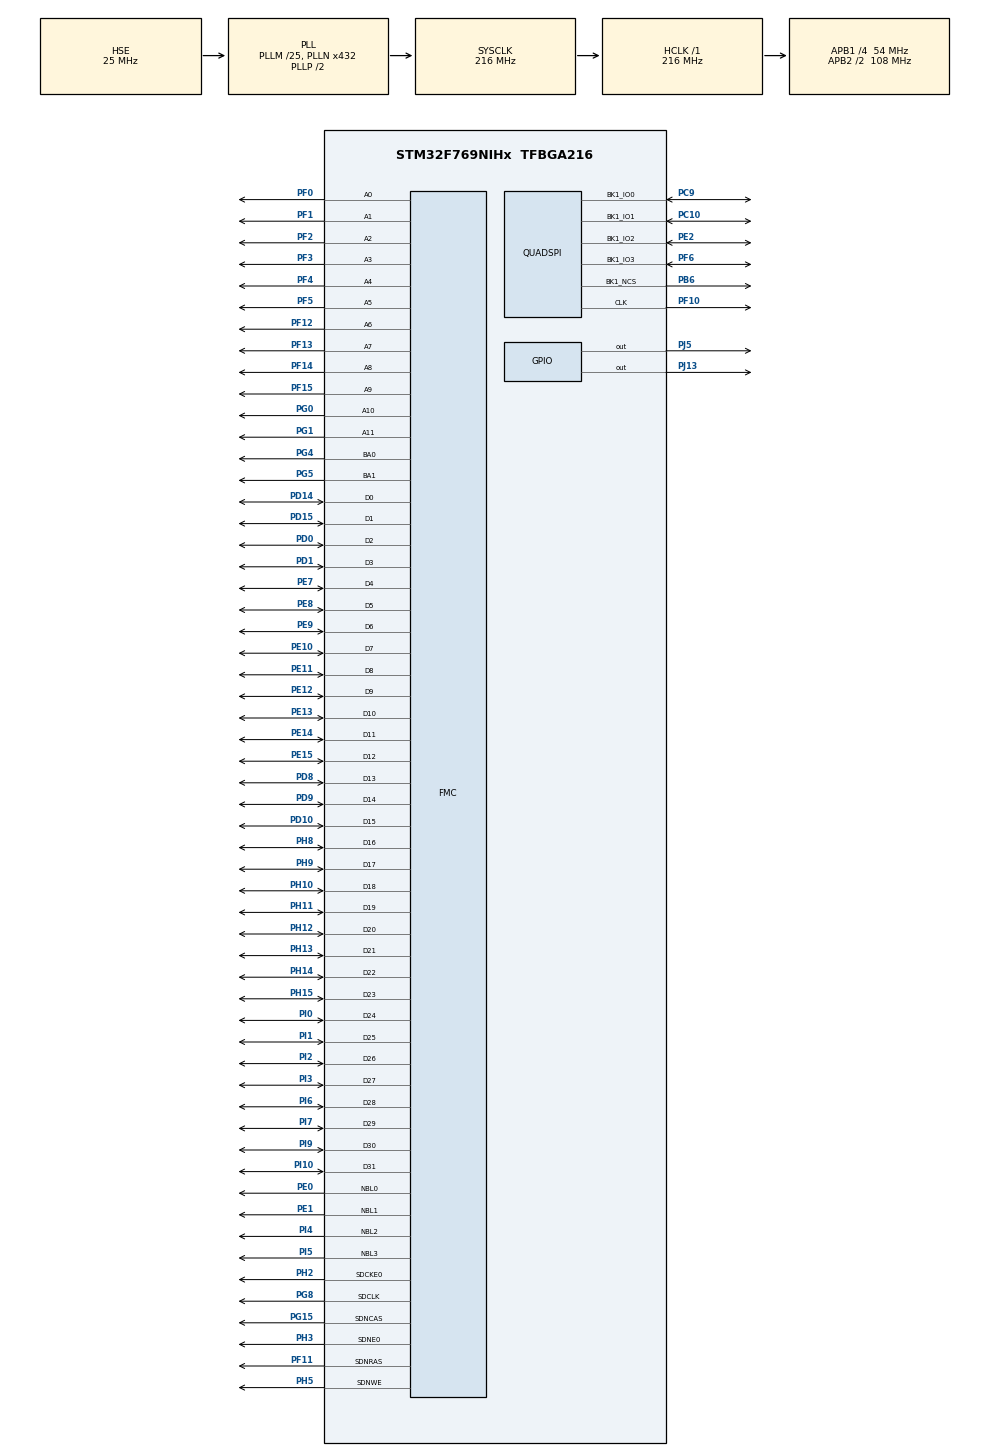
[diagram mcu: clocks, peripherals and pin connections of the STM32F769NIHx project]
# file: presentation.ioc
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CORTEX_M7.ART_ACCELERATOR_ENABLE=1
CORTEX_M7.CPU_DCache=Enabled
CORTEX_M7.CPU_ICache=Enabled
CORTEX_M7.PREFETCH_ENABLE=1
DSIHOST_CKN.Mode=DSIHost_Standalone
DSIHOST_CKN.Signal=DSIHOST_CKN
DSIHOST_CKP.Mode=DSIHost_Standalone
DSIHOST_CKP.Signal=DSIHOST_CKP
DSIHOST_D0N.Mode=DSIHost_Standalone
DSIHOST_D0N.Signal=DSIHOST_D0N
DSIHOST_D0P.Mode=DSIHost_Standalone
DSIHOST_D0P.Signal=DSIHOST_D0P
DSIHOST_D1N.Mode=DSIHost_Standalone
DSIHOST_D1N.Signal=DSIHOST_D1N
DSIHOST_D1P.Mode=DSIHost_Standalone
DSIHOST_D1P.Signal=DSIHOST_D1P
Mcu.Family=STM32F7
Mcu.Name=STM32F769NIHx
Mcu.Package=TFBGA216
NVIC.PriorityGroup=NVIC_PRIORITYGROUP_4
PB6.Mode=Single Bank 1
PB6.Signal=QUADSPI_BK1_NCS
PC10.Mode=Single Bank 1
PC10.Signal=QUADSPI_BK1_IO1
PC9.Mode=Single Bank 1
PC9.Signal=QUADSPI_BK1_IO0
PD0.Signal=FMC_D2_DA2
PD1.Signal=FMC_D3_DA3
PD10.Signal=FMC_D15_DA15
PD14.Signal=FMC_D0_DA0
PD15.Signal=FMC_D1_DA1
PD8.Signal=FMC_D13_DA13
PD9.Signal=FMC_D14_DA14
PE0.Signal=FMC_NBL0
PE1.Signal=FMC_NBL1
PE10.Signal=FMC_D7_DA7
PE11.Signal=FMC_D8_DA8
PE12.Signal=FMC_D9_DA9
PE13.Signal=FMC_D10_DA10
PE14.Signal=FMC_D11_DA11
PE15.Signal=FMC_D12_DA12
PE2.Mode=Single Bank 1
PE2.Signal=QUADSPI_BK1_IO2
PE7.Signal=FMC_D4_DA4
PE8.Signal=FMC_D5_DA5
PE9.Signal=FMC_D6_DA6
PF0.Signal=FMC_A0
PF1.Signal=FMC_A1
PF10.Mode=Single Bank 1
PF10.Signal=QUADSPI_CLK
PF11.Signal=FMC_SDNRAS
PF12.Signal=FMC_A6
PF13.Signal=FMC_A7
PF14.Signal=FMC_A8
PF15.Signal=FMC_A9
PF2.Signal=FMC_A2
PF3.Signal=FMC_A3
PF4.Signal=FMC_A4
PF5.Signal=FMC_A5
PF6.Mode=Single Bank 1
PF6.Signal=QUADSPI_BK1_IO3
PG0.Signal=FMC_A10
PG1.Signal=FMC_A11
PG15.Signal=FMC_SDNCAS
PG4.Signal=FMC_A14_BA0
PG5.Signal=FMC_A15_BA1
PG8.Signal=FMC_SDCLK
PH0/OSC_IN.Mode=HSE-External-Oscillator
PH0/OSC_IN.Signal=RCC_OSC_IN
PH1/OSC_OUT.Mode=HSE-External-Oscillator
PH1/OSC_OUT.Signal=RCC_OSC_OUT
PH10.Signal=FMC_D18
PH11.Signal=FMC_D19
PH12.Signal=FMC_D20
PH13.Signal=FMC_D21
PH14.Signal=FMC_D22
PH15.Signal=FMC_D23
PH2.Mode=SdramChipSelect1_1
PH2.Signal=FMC_SDCKE0
PH3.Mode=SdramChipSelect1_1
PH3.Signal=FMC_SDNE0
PH5.Signal=FMC_SDNWE
PH8.Signal=FMC_D16
PH9.Signal=FMC_D17
PI0.Signal=FMC_D24
PI1.Signal=FMC_D25
PI10.Signal=FMC_D31
PI2.Signal=FMC_D26
PI3.Signal=FMC_D27
PI4.Signal=FMC_NBL2
PI5.Signal=FMC_NBL3
PI6.Signal=FMC_D28
PI7.Signal=FMC_D29
PI9.Signal=FMC_D30
PJ13.Signal=GPIO_Output
PJ5.Signal=GPIO_Output
ProjectManager.HeapSize=0x200
ProjectManager.StackSize=0x400
ProjectManager.TargetToolchain=STM32CubeIDE
RCC.AHBFreq_Value=216000000
RCC.APB1CLKDivider=RCC_HCLK_DIV4
RCC.APB1Freq_Value=54000000
RCC.APB1TimFreq_Value=108000000
RCC.APB2CLKDivider=RCC_HCLK_DIV2
RCC.APB2Freq_Value=108000000
RCC.APB2TimFreq_Value=216000000
RCC.CortexFreq_Value=216000000
RCC.HCLKFreq_Value=216000000
RCC.HSE_VALUE=25000000
RCC.HSI_VALUE=16000000
RCC.PLL48CLockSelection=RCC_CLK48SOURCE_PLLSAIP
RCC.PLLM=25
RCC.PLLN=432
RCC.PLLQ=4
RCC.PLLSAIP=RCC_PLLSAIP_DIV4
RCC.PLLSAIQ=3
RCC.PLLSourceVirtual=RCC_PLLSOURCE_HSE
RCC.SDMMC2ClockSelection=RCC_SDMMC2CLKSOURCE_CLK48
RCC.SYSCLKFreq_VALUE=216000000
RCC.SYSCLKSource=RCC_SYSCLKSOURCE_PLLCLK
RCC.USBFreq_Value=48000000
RCC.VCOOutputFreq_Value=432000000
SH.FMC_A0.0=FMC_A0,12b-sda1
SH.FMC_A1.0=FMC_A1,12b-sda1
SH.FMC_A10.0=FMC_A10,12b-sda1
SH.FMC_A11.0=FMC_A11,12b-sda1
SH.FMC_A14_BA0.0=FMC_BA0,FourSdramBanks1
SH.FMC_A15_BA1.0=FMC_BA1,FourSdramBanks1
SH.FMC_A2.0=FMC_A2,12b-sda1
SH.FMC_A3.0=FMC_A3,12b-sda1
SH.FMC_A4.0=FMC_A4,12b-sda1
SH.FMC_A5.0=FMC_A5,12b-sda1
SH.FMC_A6.0=FMC_A6,12b-sda1
SH.FMC_A7.0=FMC_A7,12b-sda1
SH.FMC_A8.0=FMC_A8,12b-sda1
SH.FMC_A9.0=FMC_A9,12b-sda1
SH.FMC_D0_DA0.0=FMC_D0,sd-32b-d1
SH.FMC_D10_DA10.0=FMC_D10,sd-32b-d1
SH.FMC_D11_DA11.0=FMC_D11,sd-32b-d1
SH.FMC_D12_DA12.0=FMC_D12,sd-32b-d1
SH.FMC_D13_DA13.0=FMC_D13,sd-32b-d1
SH.FMC_D14_DA14.0=FMC_D14,sd-32b-d1
SH.FMC_D15_DA15.0=FMC_D15,sd-32b-d1
SH.FMC_D16.0=FMC_D16,sd-32b-d1
SH.FMC_D17.0=FMC_D17,sd-32b-d1
SH.FMC_D18.0=FMC_D18,sd-32b-d1
SH.FMC_D19.0=FMC_D19,sd-32b-d1
SH.FMC_D1_DA1.0=FMC_D1,sd-32b-d1
SH.FMC_D20.0=FMC_D20,sd-32b-d1
SH.FMC_D21.0=FMC_D21,sd-32b-d1
SH.FMC_D22.0=FMC_D22,sd-32b-d1
SH.FMC_D23.0=FMC_D23,sd-32b-d1
SH.FMC_D24.0=FMC_D24,sd-32b-d1
SH.FMC_D25.0=FMC_D25,sd-32b-d1
SH.FMC_D26.0=FMC_D26,sd-32b-d1
SH.FMC_D27.0=FMC_D27,sd-32b-d1
SH.FMC_D28.0=FMC_D28,sd-32b-d1
SH.FMC_D29.0=FMC_D29,sd-32b-d1
SH.FMC_D2_DA2.0=FMC_D2,sd-32b-d1
SH.FMC_D30.0=FMC_D30,sd-32b-d1
SH.FMC_D31.0=FMC_D31,sd-32b-d1
SH.FMC_D3_DA3.0=FMC_D3,sd-32b-d1
SH.FMC_D4_DA4.0=FMC_D4,sd-32b-d1
SH.FMC_D5_DA5.0=FMC_D5,sd-32b-d1
SH.FMC_D6_DA6.0=FMC_D6,sd-32b-d1
SH.FMC_D7_DA7.0=FMC_D7,sd-32b-d1
SH.FMC_D8_DA8.0=FMC_D8,sd-32b-d1
SH.FMC_D9_DA9.0=FMC_D9,sd-32b-d1
SH.FMC_NBL0.0=FMC_NBL0,Sd4ByteEnable1
SH.FMC_NBL1.0=FMC_NBL1,Sd4ByteEnable1
SH.FMC_NBL2.0=FMC_NBL2,Sd4ByteEnable1
SH.FMC_NBL3.0=FMC_NBL3,Sd4ByteEnable1
SH.FMC_SDCLK.0=FMC_SDCLK,12b-sda1
SH.FMC_SDNCAS.0=FMC_SDNCAS,12b-sda1
SH.FMC_SDNRAS.0=FMC_SDNRAS,12b-sda1
SH.FMC_SDNWE.0=FMC_SDNWE,12b-sda1
STMicroelectronics.X-CUBE-AI.9.0.0.ActivationBufferSizeList=120128
STMicroelectronics.X-CUBE-AI.9.0.0.ActivationBuffers=pool0
STMicroelectronics.X-CUBE-AI.9.0.0.ActivationNames=pool0
STMicroelectronics.X-CUBE-AI.9.0.0.ActivationSizes=AI_NETWORK_DATA_ACTIVATION_1_SIZE
STMicroelectronics.X-CUBE-AI.9.0.0.HeapSize=0x800
STMicroelectronics.X-CUBE-AI.9.0.0.InternalRamActivationBufferMaxSize=AI_NETWORK_DATA_ACTIVATIONS_SIZE
STMicroelectronics.X-CUBE-AI.9.0.0.LatestDirectoryUsed-054f68c5b1784642c3cbccf176ae7f3a9d28b22fcbf9772832cb4324b05e295c=C\:\\Varsity\\Year of Study 4 (IE)\\Semester 2\\Investigation Project\\Project Implementation\\GitHub Repo\\Investigation_Project_TinyML\\Saved_Models\\Normal_NN
STMicroelectronics.X-CUBE-AI.9.0.0.MaximumNumberOfInputLayer=1
STMicroelectronics.X-CUBE-AI.9.0.0.MaximumNumberOfOutputLayer=1
STMicroelectronics.X-CUBE-AI.9.0.0.MaximumSizeOfInputLayer=1
STMicroelectronics.X-CUBE-AI.9.0.0.MaximumSizeOfOutputLayer=1
STMicroelectronics.X-CUBE-AI.9.0.0.ModelActualCompression-054f68c5b1784642c3cbccf176ae7f3a9d28b22fcbf9772832cb4324b05e295c=0.0
STMicroelectronics.X-CUBE-AI.9.0.0.ModelCompression-054f68c5b1784642c3cbccf176ae7f3a9d28b22fcbf9772832cb4324b05e295c=Low
STMicroelectronics.X-CUBE-AI.9.0.0.ModelFlashOccupation-054f68c5b1784642c3cbccf176ae7f3a9d28b22fcbf9772832cb4324b05e295c=970120
STMicroelectronics.X-CUBE-AI.9.0.0.ModelHashList=054f68c5b1784642c3cbccf176ae7f3a9d28b22fcbf9772832cb4324b05e295c
STMicroelectronics.X-CUBE-AI.9.0.0.ModelKind-054f68c5b1784642c3cbccf176ae7f3a9d28b22fcbf9772832cb4324b05e295c=KERAS
STMicroelectronics.X-CUBE-AI.9.0.0.ModelMacc-054f68c5b1784642c3cbccf176ae7f3a9d28b22fcbf9772832cb4324b05e295c=962370
STMicroelectronics.X-CUBE-AI.9.0.0.ModelName-054f68c5b1784642c3cbccf176ae7f3a9d28b22fcbf9772832cb4324b05e295c=network
STMicroelectronics.X-CUBE-AI.9.0.0.ModelNameList=network
STMicroelectronics.X-CUBE-AI.9.0.0.ModelRamOccupation-054f68c5b1784642c3cbccf176ae7f3a9d28b22fcbf9772832cb4324b05e295c=120128
STMicroelectronics.X-CUBE-AI.9.0.0.ModelStructureFile-054f68c5b1784642c3cbccf176ae7f3a9d28b22fcbf9772832cb4324b05e295c=C\:\\Varsity\\Year of Study 4 (IE)\\Semester 2\\Investigation Project\\Project Implementation\\GitHub Repo\\Investigation_Project_TinyML\\Saved_Models\\Normal_NN\\Cable-98-Accuracy-db-tf.keras
STMicroelectronics.X-CUBE-AI.9.0.0.ModelType-054f68c5b1784642c3cbccf176ae7f3a9d28b22fcbf9772832cb4324b05e295c=STM32Cube.AI MCU runtime
STMicroelectronics.X-CUBE-AI.9.0.0.ReadyForCodeGeneration=true
STMicroelectronics.X-CUBE-AI.9.0.0.StackSize=0x800
STMicroelectronics.X-CUBE-AI.9.0.0.WorkingBufferStartAddrList=0xFFFFFFFF
STMicroelectronics.X-CUBE-AI.9.0.0.XAaCUBEAaAICcArtificialOoIntelligenceJjCore=true
STMicroelectronics.X-CUBE-AI.9.0.0.copyWeightToRam=false
STMicroelectronics.X-CUBE-AI.9.0.0.customLayerConfigEnabled=false
STMicroelectronics.X-CUBE-AI.9.0.0.noOnnxIoTranspose=false
STMicroelectronics.X-CUBE-AI.9.0.0.useInputAllocation=true
STMicroelectronics.X-CUBE-AI.9.0.0.useOutputAllocation=true
VP_CRC_VS_CRC.Mode=CRC_Activate
VP_DMA2D_VS_DMA2D.Mode=DMA2D_Activate
VP_LTDC_DSIMode.Mode=RGB888
VP_STMicroelectronics.X-CUBE-AI_VS_ArtificialOoIntelligenceJjXAaCUBEAaAI_9.0.0.Mode=ArtificialOoIntelligenceJjXAaCUBEAaAI
board=STM32F769I-DISCO

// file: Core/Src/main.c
/* USER CODE BEGIN Header */
/**
  ******************************************************************************
  * @file           : main.c
  * @brief          : Main program body
  ******************************************************************************
  * @attention
  *
  * Copyright (c) 2024 STMicroelectronics.
  * All rights reserved.
  *
  * This software is licensed under terms that can be found in the LICENSE file
  * in the root directory of this software component.
  * If no LICENSE file comes with this software, it is provided AS-IS.
  *
  ******************************************************************************
  */
/* USER CODE END Header */
#include "main.h"

/* USER CODE BEGIN Includes */
#include "stm32f769i_discovery.h"
#include "stm32f769i_discovery_lcd.h"

#include "network.h"
#include "network_data.h"
#include "anomaly_image_data_0.h"
#include "stdio.h"

/* USER CODE END Includes */

CRC_HandleTypeDef hcrc;

DMA2D_HandleTypeDef hdma2d;

DSI_HandleTypeDef hdsi;

LTDC_HandleTypeDef hltdc;

QSPI_HandleTypeDef hqspi;

SDRAM_HandleTypeDef hsdram1;

void SystemClock_Config(void);
static void MX_GPIO_Init(void);
static void MX_DMA2D_Init(void);
static void MX_DSIHOST_DSI_Init(void);
static void MX_FMC_Init(void);
static void MX_LTDC_Init(void);
static void MX_QUADSPI_Init(void);
static void MX_CRC_Init(void);

int main(void)
{

  /* Enable the CPU Cache */

  /* Enable I-Cache---------------------------------------------------------*/
  SCB_EnableICache();

  /* Enable D-Cache---------------------------------------------------------*/
  SCB_EnableDCache();

  /* MCU Configuration--------------------------------------------------------*/

  /* Reset of all peripherals, Initializes the Flash interface and the Systick. */
  HAL_Init();

  /* Configure the system clock */
  SystemClock_Config();

  /* Initialize all configured peripherals */
  MX_GPIO_Init();
  MX_DMA2D_Init();
  MX_DSIHOST_DSI_Init();
  MX_FMC_Init();
  MX_LTDC_Init();
  MX_QUADSPI_Init();
  MX_CRC_Init();
  /* USER CODE BEGIN 2 */

  BSP_LCD_Init();
  BSP_LCD_LayerDefaultInit(0, LCD_FB_START_ADDRESS);  // Select layer 0
  BSP_LCD_SelectLayer(0);
  BSP_LCD_SetFont(&Font24);
  BSP_LCD_SetLayerVisible(0, ENABLE); // Make layer 0 visible
  BSP_LCD_SetBackColor(LCD_COLOR_WHITE); // Set background color
  BSP_LCD_Clear(LCD_COLOR_WHITE);
  BSP_LCD_DisplayStringAt(20, 20, (uint8_t *)"WELCOME TO TINYML!", LEFT_MODE);

  ////////////////////////////////////////////////////////////////////////////// AI INITIALISATION /////////////////////////////////////////////////////

  static ai_handle network = AI_HANDLE_NULL;

  /* Global c-array to handle the activations buffer */
  AI_ALIGNED(32)
  static ai_u8 activations[AI_NETWORK_DATA_ACTIVATIONS_SIZE];

  /* Array to store the data of the input tensor */
  AI_ALIGNED(32)
  static ai_float in_data[AI_NETWORK_IN_1_SIZE];

  /* c-array to store the data of the output tensor */
  AI_ALIGNED(32)
  static ai_float out_data[AI_NETWORK_OUT_1_SIZE];

  /* Array of pointer to manage the model's input/output tensors */
  static ai_buffer *ai_input;
  static ai_buffer *ai_output;

  int aiInit(void) {
      ai_error err;

      /* Create and initialize the c-model */
      const ai_handle acts[] = { activations };
      err = ai_network_create_and_init(&network, acts, NULL);
      if (err.type != AI_ERROR_NONE) {}

      /* Reteive pointers to the model's input/output tensors */
      ai_input = ai_network_inputs_get(network, NULL);
      ai_output = ai_network_outputs_get(network, NULL);

      return 0;
    }

   int aiRun(const void *in_data, void *out_data) {
       ai_i32 n_batch;
       ai_error err;

       /* 1 - Update IO handlers with the data payload */
       ai_input[0].data = AI_HANDLE_PTR(in_data);
       ai_output[0].data = AI_HANDLE_PTR(out_data);

       /* 2 - Perform the inference */
       n_batch = ai_network_run(network, &ai_input[0], &ai_output[0]);
       if (n_batch != 1) {
           err = ai_network_get_error(network);
       };

       return 0;
     }

   aiInit();

  /* USER CODE END 2 */

  /* Infinite loop */
  /* USER CODE BEGIN WHILE */
  while (1)
  {

	  for (uint8_t i = 0; i < 5; i++){
		  HAL_GPIO_TogglePin(GPIOJ, GPIO_PIN_13);
		  BSP_LCD_Clear(LCD_COLOR_WHITE);
		  BSP_LCD_DisplayStringAt(110, 10, (uint8_t *)"WELCOME TO TINYML!", LEFT_MODE);
		  BSP_LCD_DisplayStringAt(110, 50, (uint8_t *)"Loading image.......", LEFT_MODE);
		  HAL_Delay(2000);

		  for (int j = 0; j < AI_NETWORK_IN_1_SIZE; j++){
			  ((ai_float*)in_data)[j] = image_data[i][j];
		  }

		  BSP_LCD_Clear(LCD_COLOR_WHITE);
		  BSP_LCD_DisplayStringAt(110, 10, (uint8_t *)"WELCOME TO TINYML!", LEFT_MODE);
		  BSP_LCD_DisplayStringAt(110, 50, (uint8_t *)"Loaded the image.", LEFT_MODE);
		  HAL_Delay(2000);
		  HAL_GPIO_TogglePin(GPIOJ, GPIO_PIN_5);
		  // Run Inference for the image pixel data that has been loaded into the input data:
		  aiRun(in_data, out_data);

		  BSP_LCD_Clear(LCD_COLOR_WHITE);
		  BSP_LCD_DisplayStringAt(110, 10, (uint8_t *)"WELCOME TO TINYML!", LEFT_MODE);
		  BSP_LCD_DisplayStringAt(110, 50, (uint8_t *)"Finished inference :)", LEFT_MODE);
		  HAL_Delay(3000);
	  }

    /* USER CODE END WHILE */

  }
}

void SystemClock_Config(void)
{
  RCC_OscInitTypeDef RCC_OscInitStruct = {0};
  RCC_ClkInitTypeDef RCC_ClkInitStruct = {0};

  /** Configure the main internal regulator output voltage
  */
  __HAL_RCC_PWR_CLK_ENABLE();
  __HAL_PWR_VOLTAGESCALING_CONFIG(PWR_REGULATOR_VOLTAGE_SCALE1);

  /** Initializes the RCC Oscillators according to the specified parameters
  * in the RCC_OscInitTypeDef structure.
  */
  RCC_OscInitStruct.OscillatorType = RCC_OSCILLATORTYPE_HSE;
  RCC_OscInitStruct.HSEState = RCC_HSE_ON;
  RCC_OscInitStruct.PLL.PLLState = RCC_PLL_ON;
  RCC_OscInitStruct.PLL.PLLSource = RCC_PLLSOURCE_HSE;
  RCC_OscInitStruct.PLL.PLLM = 25;
  RCC_OscInitStruct.PLL.PLLN = 432;
  RCC_OscInitStruct.PLL.PLLP = RCC_PLLP_DIV2;
  RCC_OscInitStruct.PLL.PLLQ = 4;
  RCC_OscInitStruct.PLL.PLLR = 2;
  if (HAL_RCC_OscConfig(&RCC_OscInitStruct) != HAL_OK)
  {
    Error_Handler();
  }

  /** Activate the Over-Drive mode
  */
  if (HAL_PWREx_EnableOverDrive() != HAL_OK)
  {
    Error_Handler();
  }

  /** Initializes the CPU, AHB and APB buses clocks
  */
  RCC_ClkInitStruct.ClockType = RCC_CLOCKTYPE_HCLK|RCC_CLOCKTYPE_SYSCLK
                              |RCC_CLOCKTYPE_PCLK1|RCC_CLOCKTYPE_PCLK2;
  RCC_ClkInitStruct.SYSCLKSource = RCC_SYSCLKSOURCE_PLLCLK;
  RCC_ClkInitStruct.AHBCLKDivider = RCC_SYSCLK_DIV1;
  RCC_ClkInitStruct.APB1CLKDivider = RCC_HCLK_DIV4;
  RCC_ClkInitStruct.APB2CLKDivider = RCC_HCLK_DIV2;

  if (HAL_RCC_ClockConfig(&RCC_ClkInitStruct, FLASH_LATENCY_7) != HAL_OK)
  {
    Error_Handler();
  }
}

static void MX_CRC_Init(void)
{

  hcrc.Instance = CRC;
  hcrc.Init.DefaultPolynomialUse = DEFAULT_POLYNOMIAL_ENABLE;
  hcrc.Init.DefaultInitValueUse = DEFAULT_INIT_VALUE_ENABLE;
  hcrc.Init.InputDataInversionMode = CRC_INPUTDATA_INVERSION_NONE;
  hcrc.Init.OutputDataInversionMode = CRC_OUTPUTDATA_INVERSION_DISABLE;
  hcrc.InputDataFormat = CRC_INPUTDATA_FORMAT_BYTES;
  if (HAL_CRC_Init(&hcrc) != HAL_OK)
  {
    Error_Handler();
  }

}

static void MX_DMA2D_Init(void)
{

  hdma2d.Instance = DMA2D;
  hdma2d.Init.Mode = DMA2D_M2M;
  hdma2d.Init.ColorMode = DMA2D_OUTPUT_ARGB8888;
  hdma2d.Init.OutputOffset = 0;
  hdma2d.LayerCfg[1].InputOffset = 0;
  hdma2d.LayerCfg[1].InputColorMode = DMA2D_INPUT_ARGB8888;
  hdma2d.LayerCfg[1].AlphaMode = DMA2D_NO_MODIF_ALPHA;
  hdma2d.LayerCfg[1].InputAlpha = 0;
  hdma2d.LayerCfg[1].AlphaInverted = DMA2D_REGULAR_ALPHA;
  hdma2d.LayerCfg[1].RedBlueSwap = DMA2D_RB_REGULAR;
  if (HAL_DMA2D_Init(&hdma2d) != HAL_OK)
  {
    Error_Handler();
  }
  if (HAL_DMA2D_ConfigLayer(&hdma2d, 1) != HAL_OK)
  {
    Error_Handler();
  }

}

static void MX_DSIHOST_DSI_Init(void)
{

  DSI_PLLInitTypeDef PLLInit = {0};
  DSI_HOST_TimeoutTypeDef HostTimeouts = {0};
  DSI_PHY_TimerTypeDef PhyTimings = {0};
  DSI_LPCmdTypeDef LPCmd = {0};

  hdsi.Instance = DSI;
  hdsi.Init.AutomaticClockLaneControl = DSI_AUTO_CLK_LANE_CTRL_DISABLE;
  hdsi.Init.TXEscapeCkdiv = 4;
  hdsi.Init.NumberOfLanes = DSI_ONE_DATA_LANE;
  PLLInit.PLLNDIV = 20;
  PLLInit.PLLIDF = DSI_PLL_IN_DIV1;
  PLLInit.PLLODF = DSI_PLL_OUT_DIV1;
  if (HAL_DSI_Init(&hdsi, &PLLInit) != HAL_OK)
  {
    Error_Handler();
  }
  HostTimeouts.TimeoutCkdiv = 1;
  HostTimeouts.HighSpeedTransmissionTimeout = 0;
  HostTimeouts.LowPowerReceptionTimeout = 0;
  HostTimeouts.HighSpeedReadTimeout = 0;
  HostTimeouts.LowPowerReadTimeout = 0;
  HostTimeouts.HighSpeedWriteTimeout = 0;
  HostTimeouts.HighSpeedWritePrespMode = DSI_HS_PM_DISABLE;
  HostTimeouts.LowPowerWriteTimeout = 0;
  HostTimeouts.BTATimeout = 0;
  if (HAL_DSI_ConfigHostTimeouts(&hdsi, &HostTimeouts) != HAL_OK)
  {
    Error_Handler();
  }
  PhyTimings.ClockLaneHS2LPTime = 28;
  PhyTimings.ClockLaneLP2HSTime = 33;
  PhyTimings.DataLaneHS2LPTime = 15;
  PhyTimings.DataLaneLP2HSTime = 25;
  PhyTimings.DataLaneMaxReadTime = 0;
  PhyTimings.StopWaitTime = 0;

  if (HAL_DSI_ConfigPhyTimer(&hdsi, &PhyTimings) != HAL_OK)
  {
    Error_Handler();
  }
  if (HAL_DSI_ConfigFlowControl(&hdsi, DSI_FLOW_CONTROL_BTA) != HAL_OK)
  {
    Error_Handler();
  }
  if (HAL_DSI_SetLowPowerRXFilter(&hdsi, 10000) != HAL_OK)
  {
    Error_Handler();
  }
  if (HAL_DSI_ConfigErrorMonitor(&hdsi, HAL_DSI_ERROR_NONE) != HAL_OK)
  {
    Error_Handler();
  }
  LPCmd.LPGenShortWriteNoP = DSI_LP_GSW0P_DISABLE;
  LPCmd.LPGenShortWriteOneP = DSI_LP_GSW1P_DISABLE;
  LPCmd.LPGenShortWriteTwoP = DSI_LP_GSW2P_DISABLE;
  LPCmd.LPGenShortReadNoP = DSI_LP_GSR0P_DISABLE;
  LPCmd.LPGenShortReadOneP = DSI_LP_GSR1P_DISABLE;
  LPCmd.LPGenShortReadTwoP = DSI_LP_GSR2P_DISABLE;
  LPCmd.LPGenLongWrite = DSI_LP_GLW_DISABLE;
  LPCmd.LPDcsShortWriteNoP = DSI_LP_DSW0P_DISABLE;
  LPCmd.LPDcsShortWriteOneP = DSI_LP_DSW1P_DISABLE;
  LPCmd.LPDcsShortReadNoP = DSI_LP_DSR0P_DISABLE;
  LPCmd.LPDcsLongWrite = DSI_LP_DLW_DISABLE;
  LPCmd.LPMaxReadPacket = DSI_LP_MRDP_DISABLE;
  LPCmd.AcknowledgeRequest = DSI_ACKNOWLEDGE_DISABLE;
  if (HAL_DSI_ConfigCommand(&hdsi, &LPCmd) != HAL_OK)
  {
    Error_Handler();
  }

}

static void MX_LTDC_Init(void)
{

  LTDC_LayerCfgTypeDef pLayerCfg = {0};
  LTDC_LayerCfgTypeDef pLayerCfg1 = {0};

  hltdc.Instance = LTDC;
  hltdc.Init.HSPolarity = LTDC_HSPOLARITY_AL;
  hltdc.Init.VSPolarity = LTDC_VSPOLARITY_AL;
  hltdc.Init.DEPolarity = LTDC_DEPOLARITY_AL;
  hltdc.Init.PCPolarity = LTDC_PCPOLARITY_IPC;
  hltdc.Init.HorizontalSync = 7;
  hltdc.Init.VerticalSync = 3;
  hltdc.Init.AccumulatedHBP = 14;
  hltdc.Init.AccumulatedVBP = 5;
  hltdc.Init.AccumulatedActiveW = 654;
  hltdc.Init.AccumulatedActiveH = 485;
  hltdc.Init.TotalWidth = 660;
  hltdc.Init.TotalHeigh = 487;
  hltdc.Init.Backcolor.Blue = 0;
  hltdc.Init.Backcolor.Green = 0;
  hltdc.Init.Backcolor.Red = 0;
  if (HAL_LTDC_Init(&hltdc) != HAL_OK)
  {
    Error_Handler();
  }
  pLayerCfg.WindowX0 = 0;
  pLayerCfg.WindowX1 = 0;
  pLayerCfg.WindowY0 = 0;
  pLayerCfg.WindowY1 = 0;
  pLayerCfg.PixelFormat = LTDC_PIXEL_FORMAT_ARGB8888;
  pLayerCfg.Alpha = 0;
  pLayerCfg.Alpha0 = 0;
  pLayerCfg.BlendingFactor1 = LTDC_BLENDING_FACTOR1_CA;
  pLayerCfg.BlendingFactor2 = LTDC_BLENDING_FACTOR2_CA;
  pLayerCfg.FBStartAdress = 0;
  pLayerCfg.ImageWidth = 0;
  pLayerCfg.ImageHeight = 0;
  pLayerCfg.Backcolor.Blue = 0;
  pLayerCfg.Backcolor.Green = 0;
  pLayerCfg.Backcolor.Red = 0;
  if (HAL_LTDC_ConfigLayer(&hltdc, &pLayerCfg, 0) != HAL_OK)
  {
    Error_Handler();
  }
  pLayerCfg1.WindowX0 = 0;
  pLayerCfg1.WindowX1 = 0;
  pLayerCfg1.WindowY0 = 0;
  pLayerCfg1.WindowY1 = 0;
  pLayerCfg1.PixelFormat = LTDC_PIXEL_FORMAT_ARGB8888;
  pLayerCfg1.Alpha = 0;
  pLayerCfg1.Alpha0 = 0;
  pLayerCfg1.BlendingFactor1 = LTDC_BLENDING_FACTOR1_CA;
  pLayerCfg1.BlendingFactor2 = LTDC_BLENDING_FACTOR2_CA;
  pLayerCfg1.FBStartAdress = 0;
  pLayerCfg1.ImageWidth = 0;
  pLayerCfg1.ImageHeight = 0;
  pLayerCfg1.Backcolor.Blue = 0;
  pLayerCfg1.Backcolor.Green = 0;
  pLayerCfg1.Backcolor.Red = 0;
  if (HAL_LTDC_ConfigLayer(&hltdc, &pLayerCfg1, 1) != HAL_OK)
  {
    Error_Handler();
  }

}

static void MX_QUADSPI_Init(void)
{

  /* QUADSPI parameter configuration*/
  hqspi.Instance = QUADSPI;
  hqspi.Init.ClockPrescaler = 255;
  hqspi.Init.FifoThreshold = 1;
  hqspi.Init.SampleShifting = QSPI_SAMPLE_SHIFTING_NONE;
  hqspi.Init.FlashSize = 1;
  hqspi.Init.ChipSelectHighTime = QSPI_CS_HIGH_TIME_1_CYCLE;
  hqspi.Init.ClockMode = QSPI_CLOCK_MODE_0;
  hqspi.Init.FlashID = QSPI_FLASH_ID_1;
  hqspi.Init.DualFlash = QSPI_DUALFLASH_DISABLE;
  if (HAL_QSPI_Init(&hqspi) != HAL_OK)
  {
    Error_Handler();
  }

}

/* FMC initialization function */
static void MX_FMC_Init(void)
{

  FMC_SDRAM_TimingTypeDef SdramTiming = {0};

  /** Perform the SDRAM1 memory initialization sequence
  */
  hsdram1.Instance = FMC_SDRAM_DEVICE;
  /* hsdram1.Init */
  hsdram1.Init.SDBank = FMC_SDRAM_BANK1;
  hsdram1.Init.ColumnBitsNumber = FMC_SDRAM_COLUMN_BITS_NUM_8;
  hsdram1.Init.RowBitsNumber = FMC_SDRAM_ROW_BITS_NUM_12;
  hsdram1.Init.MemoryDataWidth = FMC_SDRAM_MEM_BUS_WIDTH_32;
  hsdram1.Init.InternalBankNumber = FMC_SDRAM_INTERN_BANKS_NUM_4;
  hsdram1.Init.CASLatency = FMC_SDRAM_CAS_LATENCY_1;
  hsdram1.Init.WriteProtection = FMC_SDRAM_WRITE_PROTECTION_DISABLE;
  hsdram1.Init.SDClockPeriod = FMC_SDRAM_CLOCK_DISABLE;
  hsdram1.Init.ReadBurst = FMC_SDRAM_RBURST_DISABLE;
  hsdram1.Init.ReadPipeDelay = FMC_SDRAM_RPIPE_DELAY_0;
  /* SdramTiming */
  SdramTiming.LoadToActiveDelay = 16;
  SdramTiming.ExitSelfRefreshDelay = 16;
  SdramTiming.SelfRefreshTime = 16;
  SdramTiming.RowCycleDelay = 16;
  SdramTiming.WriteRecoveryTime = 16;
  SdramTiming.RPDelay = 16;
  SdramTiming.RCDDelay = 16;

  if (HAL_SDRAM_Init(&hsdram1, &SdramTiming) != HAL_OK)
  {
    Error_Handler( );
  }

}

static void MX_GPIO_Init(void)
{
  GPIO_InitTypeDef GPIO_InitStruct = {0};

  /* GPIO Ports Clock Enable */
  __HAL_RCC_GPIOE_CLK_ENABLE();
  __HAL_RCC_GPIOB_CLK_ENABLE();
  __HAL_RCC_GPIOG_CLK_ENABLE();
  __HAL_RCC_GPIOJ_CLK_ENABLE();
  __HAL_RCC_GPIOD_CLK_ENABLE();
  __HAL_RCC_GPIOC_CLK_ENABLE();
  __HAL_RCC_GPIOI_CLK_ENABLE();
  __HAL_RCC_GPIOF_CLK_ENABLE();
  __HAL_RCC_GPIOH_CLK_ENABLE();

  /*Configure GPIO pin Output Level */
  HAL_GPIO_WritePin(GPIOJ, GPIO_PIN_13|GPIO_PIN_5, GPIO_PIN_RESET);

  /*Configure GPIO pins : PJ13 PJ5 */
  GPIO_InitStruct.Pin = GPIO_PIN_13|GPIO_PIN_5;
  GPIO_InitStruct.Mode = GPIO_MODE_OUTPUT_PP;
  GPIO_InitStruct.Pull = GPIO_NOPULL;
  GPIO_InitStruct.Speed = GPIO_SPEED_FREQ_LOW;
  HAL_GPIO_Init(GPIOJ, &GPIO_InitStruct);

}

void Error_Handler(void)
{
  __disable_irq();
  while (1)
  {
  }
}
